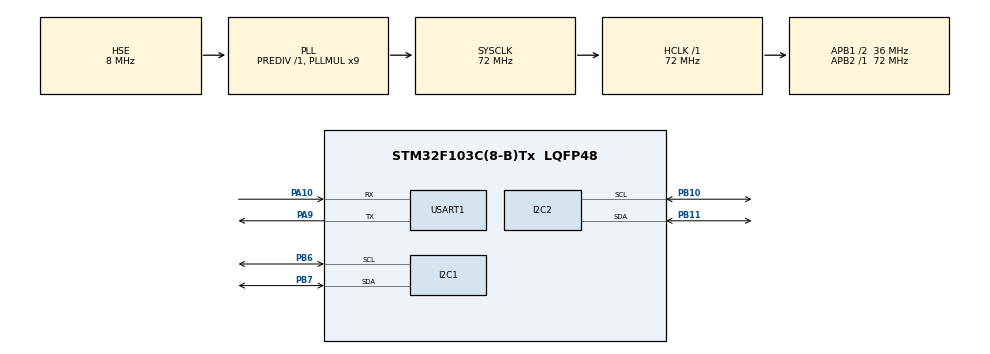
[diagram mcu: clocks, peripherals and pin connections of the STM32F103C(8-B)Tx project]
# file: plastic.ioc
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I2C1.I2C_Mode=I2C_Standard
Mcu.Family=STM32F1
Mcu.Name=STM32F103C(8-B)Tx
Mcu.Package=LQFP48
NVIC.PriorityGroup=NVIC_PRIORITYGROUP_4
NVIC.USART1_IRQn=true\:0\:0\:false\:false\:true\:true\:true\:true
PA10.Mode=Asynchronous
PA10.Signal=USART1_RX
PA13.Mode=Serial_Wire
PA13.Signal=SYS_JTMS-SWDIO
PA14.Mode=Serial_Wire
PA14.Signal=SYS_JTCK-SWCLK
PA9.Mode=Asynchronous
PA9.Signal=USART1_TX
PB10.Mode=I2C
PB10.Signal=I2C2_SCL
PB11.Mode=I2C
PB11.Signal=I2C2_SDA
PB6.Mode=I2C
PB6.Signal=I2C1_SCL
PB7.Mode=I2C
PB7.Signal=I2C1_SDA
PD0-OSC_IN.Mode=HSE-External-Oscillator
PD0-OSC_IN.Signal=RCC_OSC_IN
PD1-OSC_OUT.Mode=HSE-External-Oscillator
PD1-OSC_OUT.Signal=RCC_OSC_OUT
ProjectManager.HeapSize=0x200
ProjectManager.StackSize=0x400
ProjectManager.TargetToolchain=MDK-ARM V5.32
RCC.AHBFreq_Value=72000000
RCC.APB1CLKDivider=RCC_HCLK_DIV2
RCC.APB1Freq_Value=36000000
RCC.APB1TimFreq_Value=72000000
RCC.APB2Freq_Value=72000000
RCC.APB2TimFreq_Value=72000000
RCC.HCLKFreq_Value=72000000
RCC.PLLMUL=RCC_PLL_MUL9
RCC.PLLSourceVirtual=RCC_PLLSOURCE_HSE
RCC.SYSCLKFreq_VALUE=72000000
RCC.SYSCLKSource=RCC_SYSCLKSOURCE_PLLCLK
RCC.USBFreq_Value=72000000
USART1.VirtualMode=VM_ASYNC
board=custom

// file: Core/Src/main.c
/* USER CODE BEGIN Header */
/**
 ******************************************************************************
 * @file           : main.c
 * @brief          : Main program body
 ******************************************************************************
 * @attention
 *
 * Copyright (c) 2024 STMicroelectronics.
 * All rights reserved.
 *
 * This software is licensed under terms that can be found in the LICENSE file
 * in the root directory of this software component.
 * If no LICENSE file comes with this software, it is provided AS-IS.
 *
 ******************************************************************************
 */
/* USER CODE END Header */
#include "main.h"
#include "i2c.h"
#include "usart.h"
#include "gpio.h"

/* USER CODE BEGIN Includes */
#include <stdio.h>
#include "oled.h"
#include "as726x.h"
#include "cmd_process.h"
/* USER CODE END Includes */

void SystemClock_Config(void);
/* USER CODE BEGIN PFP */
int fputc(int ch, FILE *f)
{
  uint8_t temp[1] = {ch};
  HAL_UART_Transmit(&huart1, temp, 1, 0xffff);
  return ch;
}

int fgetc(FILE *f)
{
  uint8_t ch = 0;
  HAL_UART_Receive(&huart1, &ch, 1, 0xffff);
  return ch;
}

void DIS_Welcome()
{
  OLED_ShowString(40, 10, (unsigned char *)"HFUT", 24);
  OLED_ShowString(20, 40, (unsigned char *)"Plastic sort", 16);

  OLED_Refresh_Gram();
}
void AS726_init(void)
{
  registerDelay(HAL_Delay);
  AS726_begin(3, 3);
}
/* USER CODE END PFP */

int main(void)
{

  /* MCU Configuration--------------------------------------------------------*/

  /* Reset of all peripherals, Initializes the Flash interface and the Systick. */
  HAL_Init();

  /* Configure the system clock */
  SystemClock_Config();

  /* Initialize all configured peripherals */
  MX_GPIO_Init();
  MX_USART1_UART_Init();
  MX_I2C1_Init();
  MX_I2C2_Init();
  /* USER CODE BEGIN 2 */
  OLED_Init();
  OLED_Clear();
  DIS_Welcome();
  HAL_Delay(3000);
  AS726_init();
  printf("init is OK!!!\r\n");
  HAL_UART_Receive_IT(&huart1, (uint8_t *)&aRxBuffer, 1); // 再开启接收中断
  /* USER CODE END 2 */

  /* Infinite loop */
  while (1)
  {

    /* USER CODE BEGIN 3 */
    cmd_process();
  }
  /* USER CODE END 3 */
}

void SystemClock_Config(void)
{
  RCC_OscInitTypeDef RCC_OscInitStruct = {0};
  RCC_ClkInitTypeDef RCC_ClkInitStruct = {0};

  /** Initializes the RCC Oscillators according to the specified parameters
   * in the RCC_OscInitTypeDef structure.
   */
  RCC_OscInitStruct.OscillatorType = RCC_OSCILLATORTYPE_HSE;
  RCC_OscInitStruct.HSEState = RCC_HSE_ON;
  RCC_OscInitStruct.HSEPredivValue = RCC_HSE_PREDIV_DIV1;
  RCC_OscInitStruct.HSIState = RCC_HSI_ON;
  RCC_OscInitStruct.PLL.PLLState = RCC_PLL_ON;
  RCC_OscInitStruct.PLL.PLLSource = RCC_PLLSOURCE_HSE;
  RCC_OscInitStruct.PLL.PLLMUL = RCC_PLL_MUL9;
  if (HAL_RCC_OscConfig(&RCC_OscInitStruct) != HAL_OK)
  {
    Error_Handler();
  }

  /** Initializes the CPU, AHB and APB buses clocks
   */
  RCC_ClkInitStruct.ClockType = RCC_CLOCKTYPE_HCLK | RCC_CLOCKTYPE_SYSCLK | RCC_CLOCKTYPE_PCLK1 | RCC_CLOCKTYPE_PCLK2;
  RCC_ClkInitStruct.SYSCLKSource = RCC_SYSCLKSOURCE_PLLCLK;
  RCC_ClkInitStruct.AHBCLKDivider = RCC_SYSCLK_DIV1;
  RCC_ClkInitStruct.APB1CLKDivider = RCC_HCLK_DIV2;
  RCC_ClkInitStruct.APB2CLKDivider = RCC_HCLK_DIV1;

  if (HAL_RCC_ClockConfig(&RCC_ClkInitStruct, FLASH_LATENCY_2) != HAL_OK)
  {
    Error_Handler();
  }
}

void Error_Handler(void)
{
  __disable_irq();
  while (1)
  {
  }
}
